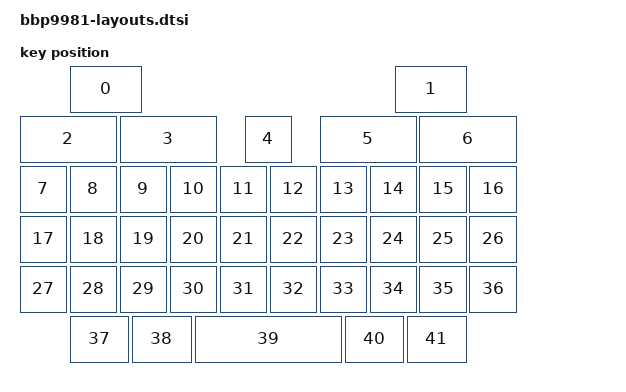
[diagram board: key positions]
#include <physical_layouts.dtsi>
#include <dt-bindings/zmk/matrix_transform.h>

/ {
    bbp9981_layout: bbp9981_layout {
        compatible = "zmk,physical-layout";
        display-name = "bbp9981";

        kscan = <&kscan0>;
        transform = <&matrix_transform0>;

        keys  //                     w   h    x    y     rot    rx    ry
            = <&key_physical_attrs 150 100  100    0       0     0     0>
            , <&key_physical_attrs 150 100  750    0       0     0     0>
            , <&key_physical_attrs 200 100    0  100       0     0     0>
            , <&key_physical_attrs 200 100  200  100       0     0     0>
            , <&key_physical_attrs 100 100  450  100       0     0     0>
            , <&key_physical_attrs 200 100  600  100       0     0     0>
            , <&key_physical_attrs 200 100  800  100       0     0     0>
            , <&key_physical_attrs 100 100    0  200       0     0     0>
            , <&key_physical_attrs 100 100  100  200       0     0     0>
            , <&key_physical_attrs 100 100  200  200       0     0     0>
            , <&key_physical_attrs 100 100  300  200       0     0     0>
            , <&key_physical_attrs 100 100  400  200       0     0     0>
            , <&key_physical_attrs 100 100  500  200       0     0     0>
            , <&key_physical_attrs 100 100  600  200       0     0     0>
            , <&key_physical_attrs 100 100  700  200       0     0     0>
            , <&key_physical_attrs 100 100  800  200       0     0     0>
            , <&key_physical_attrs 100 100  900  200       0     0     0>
            , <&key_physical_attrs 100 100    0  300       0     0     0>
            , <&key_physical_attrs 100 100  100  300       0     0     0>
            , <&key_physical_attrs 100 100  200  300       0     0     0>
            , <&key_physical_attrs 100 100  300  300       0     0     0>
            , <&key_physical_attrs 100 100  400  300       0     0     0>
            , <&key_physical_attrs 100 100  500  300       0     0     0>
            , <&key_physical_attrs 100 100  600  300       0     0     0>
            , <&key_physical_attrs 100 100  700  300       0     0     0>
            , <&key_physical_attrs 100 100  800  300       0     0     0>
            , <&key_physical_attrs 100 100  900  300       0     0     0>
            , <&key_physical_attrs 100 100    0  400       0     0     0>
            , <&key_physical_attrs 100 100  100  400       0     0     0>
            , <&key_physical_attrs 100 100  200  400       0     0     0>
            , <&key_physical_attrs 100 100  300  400       0     0     0>
            , <&key_physical_attrs 100 100  400  400       0     0     0>
            , <&key_physical_attrs 100 100  500  400       0     0     0>
            , <&key_physical_attrs 100 100  600  400       0     0     0>
            , <&key_physical_attrs 100 100  700  400       0     0     0>
            , <&key_physical_attrs 100 100  800  400       0     0     0>
            , <&key_physical_attrs 100 100  900  400       0     0     0>
            , <&key_physical_attrs 125 100  100  500       0     0     0>
            , <&key_physical_attrs 125 100  225  500       0     0     0>
            , <&key_physical_attrs 300 100  350  500       0     0     0>
            , <&key_physical_attrs 125 100  650  500       0     0     0>
            , <&key_physical_attrs 125 100  775  500       0     0     0>
            ;
    };
};
